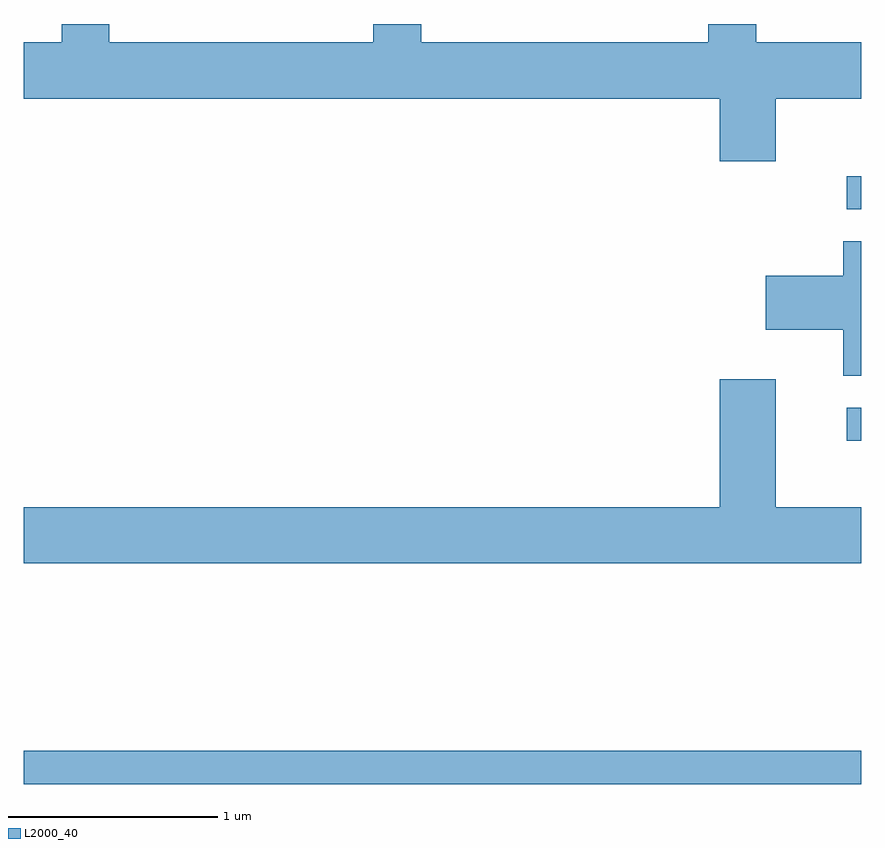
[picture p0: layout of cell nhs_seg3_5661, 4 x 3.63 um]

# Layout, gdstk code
import gdstk
lib = gdstk.Library(unit=1e-6, precision=1e-09)
def R(c, l, rs):  # rectangles x0, y0, x1, y1
    for r in rs: c.add(gdstk.rectangle(r[:2], r[2:], *l))
def P(c, l, *ps):  # polygons
    for p in ps: c.add(gdstk.Polygon(p, *l))
L2000_40 = (2000, 40)

nhs_seg3_5661 = lib.new_cell('nhs_seg3_5661')
R(nhs_seg3_5661, L2000_40, [(351.611,1158.261,355.611,1158.419), (355.543,1159.901,355.611,1160.059), (355.543,1161.006,355.611,1161.164)])
P(nhs_seg3_5661, L2000_40, [(355.204,1161.536),(355.611,1161.536),(355.611,1161.804),(355.109,1161.804),(355.109,1161.892),(354.881,1161.892),(354.881,1161.804),(353.509,1161.804),(353.509,1161.892),(353.281,1161.892),(353.281,1161.804),(352.019,1161.804),(352.019,1161.892),(351.791,1161.892),(351.791,1161.804),(351.611,1161.804),(351.611,1161.536),(354.936,1161.536),(354.936,1161.236),(355.204,1161.236)],
  [(355.611,1160.854),(355.526,1160.854),(355.526,1160.689),(355.156,1160.689),(355.156,1160.431),(355.526,1160.431),(355.526,1160.211),(355.611,1160.211)],
  [(355.611,1159.584),(355.204,1159.584),(355.204,1160.194),(354.936,1160.194),(354.936,1159.584),(351.611,1159.584),(351.611,1159.316),(355.611,1159.316)])

lib.write_gds('nhs_seg3_5661.gds')
